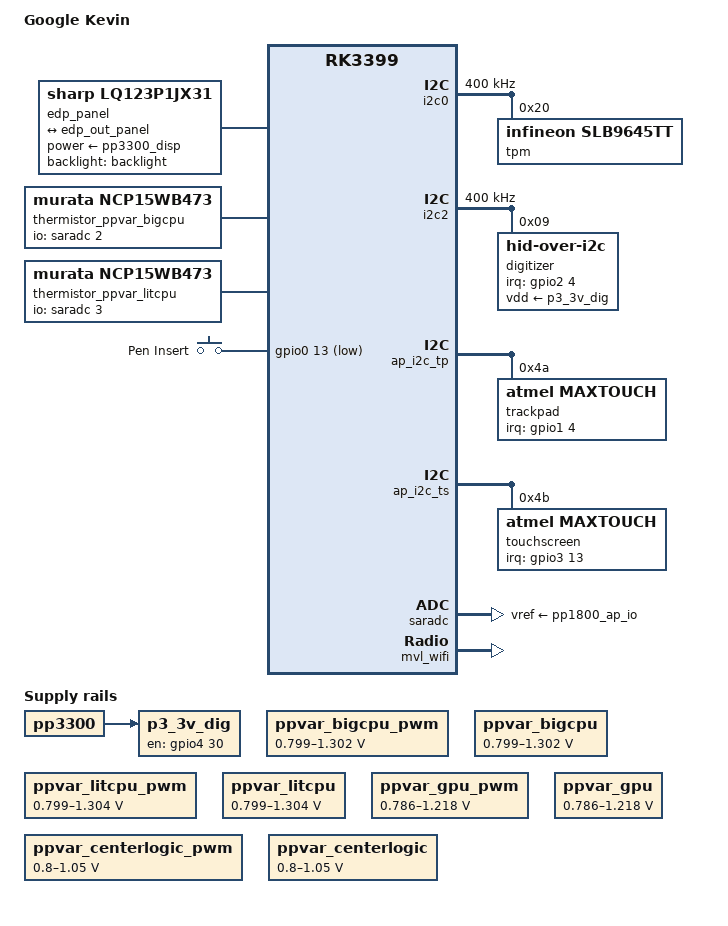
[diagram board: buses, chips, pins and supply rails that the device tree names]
// SPDX-License-Identifier: (GPL-2.0+ OR MIT)
/*
 * Google Gru-Kevin Rev 6+ board device tree source
 *
 * Copyright 2016-2017 Google, Inc
 */

/dts-v1/;
#include "rk3399-gru-chromebook.dtsi"
#include <dt-bindings/input/linux-event-codes.h>

/*
 * Kevin-specific things
 *
 * Things in this section should use names from Kevin schematic since no
 * equivalent exists in Gru schematic.  If referring to signals that exist
 * in Gru we use the Gru names, though.  Confusing enough for you?
 */
/ {
	model = "Google Kevin";
	compatible = "google,kevin-rev15", "google,kevin-rev14",
		     "google,kevin-rev13", "google,kevin-rev12",
		     "google,kevin-rev11", "google,kevin-rev10",
		     "google,kevin-rev9", "google,kevin-rev8",
		     "google,kevin-rev7", "google,kevin-rev6",
		     "google,kevin", "google,gru", "rockchip,rk3399";

	/* Power tree */

	p3_3v_dig: p3-3v-dig {
		compatible = "regulator-fixed";
		regulator-name = "p3.3v_dig";
		pinctrl-names = "default";
		pinctrl-0 = <&cpu3_pen_pwr_en>;

		enable-active-high;
		gpio = <&gpio4 30 GPIO_ACTIVE_HIGH>;
		vin-supply = <&pp3300>;
	};

	edp_panel: edp-panel {
		compatible = "sharp,lq123p1jx31";
		backlight = <&backlight>;
		power-supply = <&pp3300_disp>;

		panel-timing {
			clock-frequency = <266666667>;
			hactive = <2400>;
			hfront-porch = <48>;
			hback-porch = <84>;
			hsync-len = <32>;
			hsync-active = <0>;
			vactive = <1600>;
			vfront-porch = <3>;
			vback-porch = <120>;
			vsync-len = <10>;
			vsync-active = <0>;
		};

		port {
			panel_in_edp: endpoint {
				remote-endpoint = <&edp_out_panel>;
			};
		};
	};

	thermistor_ppvar_bigcpu: thermistor-ppvar-bigcpu {
		compatible = "murata,ncp15wb473";
		pullup-uv = <1800000>;
		pullup-ohm = <25500>;
		pulldown-ohm = <0>;
		io-channels = <&saradc 2>;
		#thermal-sensor-cells = <0>;
	};

	thermistor_ppvar_litcpu: thermistor-ppvar-litcpu {
		compatible = "murata,ncp15wb473";
		pullup-uv = <1800000>;
		pullup-ohm = <25500>;
		pulldown-ohm = <0>;
		io-channels = <&saradc 3>;
		#thermal-sensor-cells = <0>;
	};
};

&backlight {
	pwms = <&cros_ec_pwm 1>;
};

&gpio_keys {
	pinctrl-names = "default";
	pinctrl-0 = <&bt_host_wake_l>, <&cpu1_pen_eject>;

	pen-insert {
		label = "Pen Insert";
		/* Insert = low, eject = high */
		gpios = <&gpio0 13 GPIO_ACTIVE_LOW>;
		linux,code = <SW_PEN_INSERTED>;
		linux,input-type = <EV_SW>;
		wakeup-source;
	};
};

&thermal_zones {
	bigcpu_reg_thermal: bigcpu-reg-thermal {
		polling-delay-passive = <100>; /* milliseconds */
		polling-delay = <1000>; /* milliseconds */
		thermal-sensors = <&thermistor_ppvar_bigcpu 0>;
		sustainable-power = <4000>;

		ppvar_bigcpu_trips: trips {
			ppvar_bigcpu_on: ppvar-bigcpu-on {
				temperature = <40000>;	/* millicelsius */
				hysteresis = <2000>;	/* millicelsius */
				type = "passive";
			};

			ppvar_bigcpu_alert: ppvar-bigcpu-alert {
				temperature = <50000>;	/* millicelsius */
				hysteresis = <2000>;	/* millicelsius */
				type = "passive";
			};

			ppvar_bigcpu_crit: ppvar-bigcpu-crit {
				temperature = <90000>;	/* millicelsius */
				hysteresis = <0>;	/* millicelsius */
				type = "critical";
			};
		};

		cooling-maps {
			map0 {
				trip = <&ppvar_bigcpu_alert>;
				cooling-device =
					<&cpu_l0 THERMAL_NO_LIMIT THERMAL_NO_LIMIT>,
					<&cpu_l1 THERMAL_NO_LIMIT THERMAL_NO_LIMIT>,
					<&cpu_l2 THERMAL_NO_LIMIT THERMAL_NO_LIMIT>,
					<&cpu_l3 THERMAL_NO_LIMIT THERMAL_NO_LIMIT>;
				contribution = <4096>;
			};
			map1 {
				trip = <&ppvar_bigcpu_alert>;
				cooling-device =
					<&cpu_b0 THERMAL_NO_LIMIT THERMAL_NO_LIMIT>,
					<&cpu_b1 THERMAL_NO_LIMIT THERMAL_NO_LIMIT>;
				contribution = <1024>;
			};
		};
	};

	litcpu_reg_thermal: litcpu-reg-thermal {
		polling-delay-passive = <100>; /* milliseconds */
		polling-delay = <1000>; /* milliseconds */
		thermal-sensors = <&thermistor_ppvar_litcpu 0>;
		sustainable-power = <4000>;

		ppvar_litcpu_trips: trips {
			ppvar_litcpu_on: ppvar-litcpu-on {
				temperature = <40000>;	/* millicelsius */
				hysteresis = <2000>;	/* millicelsius */
				type = "passive";
			};

			ppvar_litcpu_alert: ppvar-litcpu-alert {
				temperature = <50000>;	/* millicelsius */
				hysteresis = <2000>;	/* millicelsius */
				type = "passive";
			};

			ppvar_litcpu_crit: ppvar-litcpu-crit {
				temperature = <90000>;	/* millicelsius */
				hysteresis = <0>;	/* millicelsius */
				type = "critical";
			};
		};
	};
};

ap_i2c_tpm: &i2c0 {
	status = "okay";

	clock-frequency = <400000>;

	/* These are relatively safe rise/fall times. */
	i2c-scl-falling-time-ns = <50>;
	i2c-scl-rising-time-ns = <300>;

	tpm: tpm@20 {
		compatible = "infineon,slb9645tt";
		reg = <0x20>;
		powered-while-suspended;
	};
};

ap_i2c_dig: &i2c2 {
	status = "okay";

	clock-frequency = <400000>;

	/* These are relatively safe rise/fall times. */
	i2c-scl-falling-time-ns = <50>;
	i2c-scl-rising-time-ns = <300>;

	digitizer: digitizer@9 {
		/* wacom,w9013 */
		compatible = "hid-over-i2c";
		reg = <0x9>;
		pinctrl-names = "default";
		pinctrl-0 = <&cpu1_dig_irq_l &cpu1_dig_pdct_l>;

		vdd-supply = <&p3_3v_dig>;
		post-power-on-delay-ms = <100>;

		interrupt-parent = <&gpio2>;
		interrupts = <4 IRQ_TYPE_LEVEL_LOW>;

		hid-descr-addr = <0x1>;
	};
};

/* Adjustments to things in the gru baseboard */

&ap_i2c_tp {
	trackpad@4a {
		compatible = "atmel,maxtouch";
		reg = <0x4a>;
		pinctrl-names = "default";
		pinctrl-0 = <&trackpad_int_l>;
		interrupt-parent = <&gpio1>;
		interrupts = <4 IRQ_TYPE_LEVEL_LOW>;
		linux,gpio-keymap = <KEY_RESERVED
				     KEY_RESERVED
				     KEY_RESERVED
				     BTN_LEFT>;
		wakeup-source;
	};
};

&ap_i2c_ts {
	touchscreen@4b {
		compatible = "atmel,maxtouch";
		reg = <0x4b>;
		pinctrl-names = "default";
		pinctrl-0 = <&touch_int_l>;
		interrupt-parent = <&gpio3>;
		interrupts = <13 IRQ_TYPE_LEVEL_LOW>;
	};
};

&ppvar_bigcpu_pwm {
	regulator-min-microvolt = <798674>;
	regulator-max-microvolt = <1302172>;
};

&ppvar_bigcpu {
	regulator-min-microvolt = <798674>;
	regulator-max-microvolt = <1302172>;
	ctrl-voltage-range = <798674 1302172>;
};

&ppvar_litcpu_pwm {
	regulator-min-microvolt = <799065>;
	regulator-max-microvolt = <1303738>;
};

&ppvar_litcpu {
	regulator-min-microvolt = <799065>;
	regulator-max-microvolt = <1303738>;
	ctrl-voltage-range = <799065 1303738>;
};

&ppvar_gpu_pwm {
	regulator-min-microvolt = <785782>;
	regulator-max-microvolt = <1217729>;
};

&ppvar_gpu {
	regulator-min-microvolt = <785782>;
	regulator-max-microvolt = <1217729>;
	ctrl-voltage-range = <785782 1217729>;
};

&ppvar_centerlogic_pwm {
	regulator-min-microvolt = <800069>;
	regulator-max-microvolt = <1049692>;
};

&ppvar_centerlogic {
	regulator-min-microvolt = <800069>;
	regulator-max-microvolt = <1049692>;
	ctrl-voltage-range = <800069 1049692>;
};

&saradc {
	status = "okay";
	vref-supply = <&pp1800_ap_io>;
};

&mvl_wifi {
	marvell,wakeup-pin = <14>; /* GPIO_14 on Marvell */
};

&pinctrl {
	digitizer {
		/* Has external pullup */
		cpu1_dig_irq_l: cpu1-dig-irq-l {
			rockchip,pins = <2 RK_PA4 RK_FUNC_GPIO &pcfg_pull_none>;
		};

		/* Has external pullup */
		cpu1_dig_pdct_l: cpu1-dig-pdct-l {
			rockchip,pins = <2 RK_PA5 RK_FUNC_GPIO &pcfg_pull_none>;
		};
	};

	discrete-regulators {
		cpu3_pen_pwr_en: cpu3-pen-pwr-en {
			rockchip,pins = <4 RK_PD6 RK_FUNC_GPIO &pcfg_pull_none>;
		};
	};

	pen {
		cpu1_pen_eject: cpu1-pen-eject {
			rockchip,pins = <0 RK_PB5 RK_FUNC_GPIO &pcfg_pull_up>;
		};
	};
};
